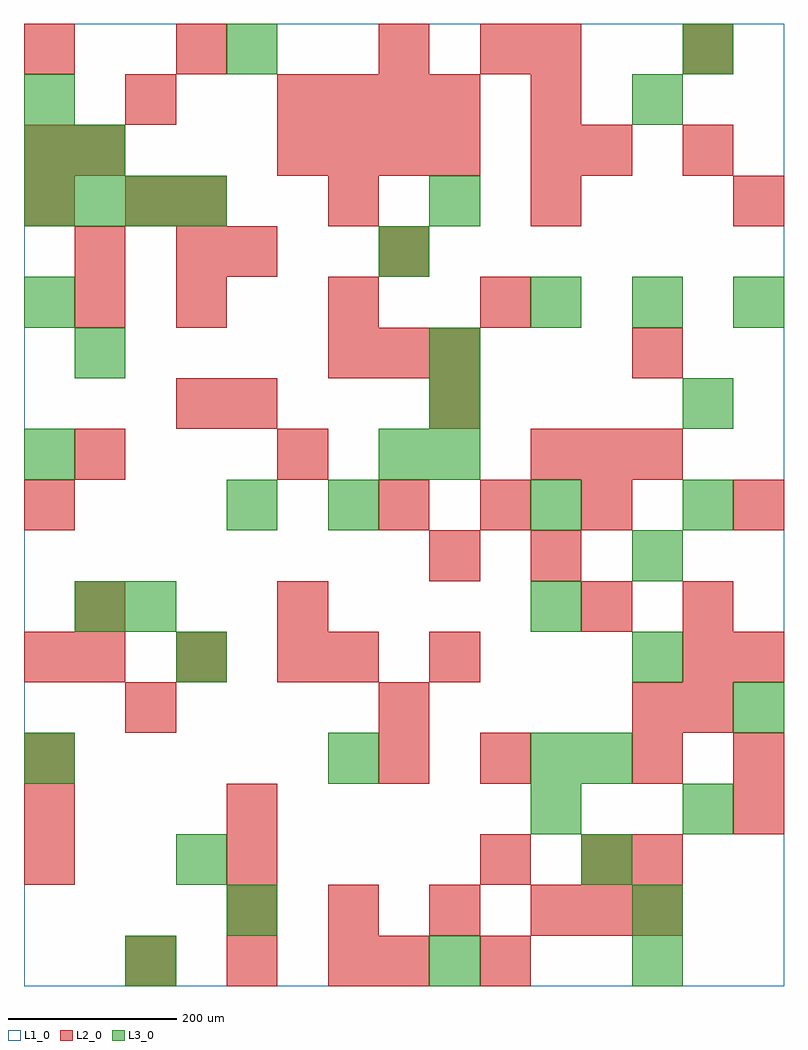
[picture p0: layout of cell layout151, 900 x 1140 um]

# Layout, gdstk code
import gdstk
lib = gdstk.Library(unit=1e-6, precision=1e-09)
def R(c, l, rs):  # rectangles x0, y0, x1, y1
    for r in rs: c.add(gdstk.rectangle(r[:2], r[2:], *l))
def A(c, l, x, y, w, h, nx, ny, dx, dy):  # array of equal rectangles
    R(c, l, [(x+i*dx, y+j*dy, x+i*dx+w, y+j*dy+h) for i in range(nx) for j in range(ny)])
L1_0 = (1, 0)
L2_0 = (2, 0)
L3_0 = (3, 0)

layout151 = lib.new_cell('layout151')
R(layout151, L1_0, [(0,0,900,1140)])
A(layout151, L2_0, 120, 0, 60, 60, 3, 1, 120, 0)
A(layout151, L2_0, 540, 0, 60, 60, 1, 3, 0, 120)
A(layout151, L2_0, 240, 60, 60, 60, 4, 1, 120, 0)
A(layout151, L2_0, 0, 120, 60, 60, 1, 3, 0, 60)
A(layout151, L2_0, 120, 300, 60, 60, 3, 1, 300, 0)
A(layout151, L2_0, 780, 300, 60, 60, 1, 3, 0, 60)
A(layout151, L2_0, 60, 360, 60, 60, 3, 1, 120, 0)
A(layout151, L2_0, 60, 420, 60, 60, 1, 3, 0, 180)
A(layout151, L2_0, 420, 540, 60, 60, 3, 1, 120, 0)
A(layout151, L2_0, 600, 600, 60, 60, 3, 1, 60, 0)
A(layout151, L2_0, 360, 720, 60, 60, 3, 1, 60, 0)
A(layout151, L2_0, 180, 780, 60, 60, 3, 1, 180, 0)
A(layout151, L2_0, 360, 900, 60, 60, 3, 1, 240, 0)
A(layout151, L2_0, 300, 960, 60, 60, 4, 2, 60, 60)
A(layout151, L2_0, 600, 960, 60, 60, 1, 3, 0, 60)
R(layout151, L2_0, [(420,0,480,60), (660,60,720,120), (720,60,780,120), (240,120,300,180), (660,120,720,180), (720,120,780,180), (240,180,300,240), (840,180,900,240), (420,240,480,300), (720,240,780,300), (840,240,900,300), (0,360,60,420), (360,360,420,420), (480,360,540,420), (840,360,900,420), (300,420,360,480), (660,420,720,480), (480,480,540,540), (600,480,660,540), (0,540,60,600), (840,540,900,600), (300,600,360,660), (180,660,240,720), (240,660,300,720), (480,660,540,720), (720,720,780,780), (60,840,120,900), (180,840,240,900), (240,840,300,900), (420,840,480,900), (0,900,60,960), (120,900,180,960), (180,900,240,960), (0,960,60,1020), (60,960,120,1020), (660,960,720,1020), (780,960,840,1020), (120,1020,180,1080), (0,1080,60,1140), (180,1080,240,1140), (420,1080,480,1140), (540,1080,600,1140), (780,1080,840,1140)])
A(layout151, L3_0, 0, 600, 60, 60, 1, 3, 0, 180)
A(layout151, L3_0, 480, 600, 60, 60, 1, 3, 0, 60)
A(layout151, L3_0, 600, 780, 60, 60, 3, 1, 120, 0)
A(layout151, L3_0, 0, 900, 60, 60, 4, 1, 60, 0)
R(layout151, L3_0, [(120,0,180,60), (480,0,540,60), (720,0,780,60), (240,60,300,120), (720,60,780,120), (180,120,240,180), (660,120,720,180), (600,180,660,240), (780,180,840,240), (0,240,60,300), (360,240,420,300), (600,240,660,300), (660,240,720,300), (840,300,900,360), (180,360,240,420), (720,360,780,420), (60,420,120,480), (120,420,180,480), (600,420,660,480), (720,480,780,540), (240,540,300,600), (360,540,420,600), (600,540,660,600), (780,540,840,600), (420,600,480,660), (780,660,840,720), (60,720,120,780), (420,840,480,900), (480,900,540,960), (60,960,120,1020), (0,1020,60,1080), (720,1020,780,1080), (240,1080,300,1140), (780,1080,840,1140)])

lib.write_gds('layout151.gds')
